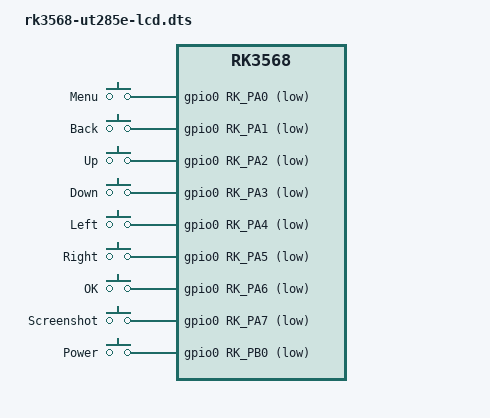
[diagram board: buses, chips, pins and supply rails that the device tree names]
/*
 * rk3568-ut285e-lcd.dts — Device tree overlay template
 * ====================================================
 * For RK3568 + 800×480 24-bit RGB parallel LCD + I2C4 touch
 *
 * Compile: dtc -@ -I dts -O dtb -o rk3568-ut285e-lcd.dtbo rk3568-ut285e-lcd.dts
 * Apply:   U-Boot: fdt apply rk3568-ut285e-lcd.dtbo
 *          or merge into main .dts
 */

/dts-v1/;
/plugin/;

/ { compatible = "rockchip,rk3568"; };

/* ══ Backlight PWM ══ */
fragment@0 { target = <&pwm0>; __overlay__ { status = "okay"; }; };

fragment@1 { target-path = "/"; __overlay__ {
    backlight: backlight {
        compatible = "pwm-backlight";
        pwms = <&pwm0 0 50000 0>;                       /* 20kHz */
        brightness-levels = <0 1 2 3 4 5 6 7 8 9 10 11 12 13 14 15 16 17 18 19
            20 25 30 35 40 45 50 55 60 65 70 75 80 85 90 95 100>;
        default-brightness-level = <36>;                /* 100% */
        enable-gpios = <&gpio0 RK_PC0 GPIO_ACTIVE_HIGH>; /* ADJUST per hardware */
    };
};};

/* ══ RGB LCD Panel (800×480) ══ */
fragment@2 { target = <&rgb>; __overlay__ { status = "okay"; }; };

fragment@3 { target-path = "/"; __overlay__ {
    panel {
        compatible = "panel-simple";
        backlight = <&backlight>;
        enable-gpios = <&gpio0 RK_PC1 GPIO_ACTIVE_HIGH>; /* ADJUST */

        display-timings { native-mode = <&timing0>;
            timing0: timing0 {
                clock-frequency = <28000000>;  /* ADJUST per LCD datasheet */
                hactive = <800>; vactive = <480>;
                hfront-porch = <40>; hback-porch = <88>; hsync-len = <48>;
                vfront-porch = <13>; vback-porch = <32>; vsync-len = <3>;
                hsync-active = <0>; vsync-active = <0>;
                de-active = <0>; pixelclk-active = <0>;
            };
        };

        port { panel_in_rgb: endpoint { remote-endpoint = <&rgb_out_panel>; }; };
    };
};};

/* ══ I2C4 Capacitive Touch ══ */
fragment@4 { target = <&i2c4>; __overlay__ {
    status = "okay"; clock-frequency = <400000>;

    /* GT911 — most common. Address may be 0x5d or 0x14 */
    gt911: touchscreen@5d {
        compatible = "goodix,gt911";
        reg = <0x5d>;
        interrupt-parent = <&gpio0>;
        interrupts = <RK_PB5 IRQ_TYPE_EDGE_FALLING>;
        irq-gpios = <&gpio0 RK_PB5 GPIO_ACTIVE_HIGH>;   /* ADJUST */
        reset-gpios = <&gpio0 RK_PC2 GPIO_ACTIVE_LOW>;   /* ADJUST */
        touchscreen-size-x = <800>; touchscreen-size-y = <480>;
    };

    /* Alternative: FT5x06 */
    // ft5x06: touchscreen@38 {
    //     compatible = "edt,edt-ft5406"; reg = <0x38>;
    //     interrupt-parent = <&gpio0>; interrupts = <RK_PB5 IRQ_TYPE_EDGE_FALLING>;
    //     reset-gpios = <&gpio0 RK_PC2 GPIO_ACTIVE_LOW>;
    //     touchscreen-size-x = <800>; touchscreen-size-y = <480>;
    // };
};};

/* ══ GPIO Keys ══ */
fragment@5 { target-path = "/"; __overlay__ {
    gpio_keys: gpio-keys {
        compatible = "gpio-keys"; autorepeat;
        key_menu  { label="Menu";  linux,code=<139>; gpios=<&gpio0 RK_PA0 GPIO_ACTIVE_LOW>; };
        key_back  { label="Back";  linux,code=<158>; gpios=<&gpio0 RK_PA1 GPIO_ACTIVE_LOW>; };
        key_up    { label="Up";    linux,code=<103>; gpios=<&gpio0 RK_PA2 GPIO_ACTIVE_LOW>; };
        key_down  { label="Down";  linux,code=<108>; gpios=<&gpio0 RK_PA3 GPIO_ACTIVE_LOW>; };
        key_left  { label="Left";  linux,code=<105>; gpios=<&gpio0 RK_PA4 GPIO_ACTIVE_LOW>; };
        key_right { label="Right"; linux,code=<106>; gpios=<&gpio0 RK_PA5 GPIO_ACTIVE_LOW>; };
        key_enter { label="OK";    linux,code=<28>;  gpios=<&gpio0 RK_PA6 GPIO_ACTIVE_LOW>; };
        key_cam   { label="Screenshot"; linux,code=<212>; gpios=<&gpio0 RK_PA7 GPIO_ACTIVE_LOW>; };
        key_power { label="Power"; linux,code=<116>; gpios=<&gpio0 RK_PB0 GPIO_ACTIVE_LOW>; };
    };
};};
